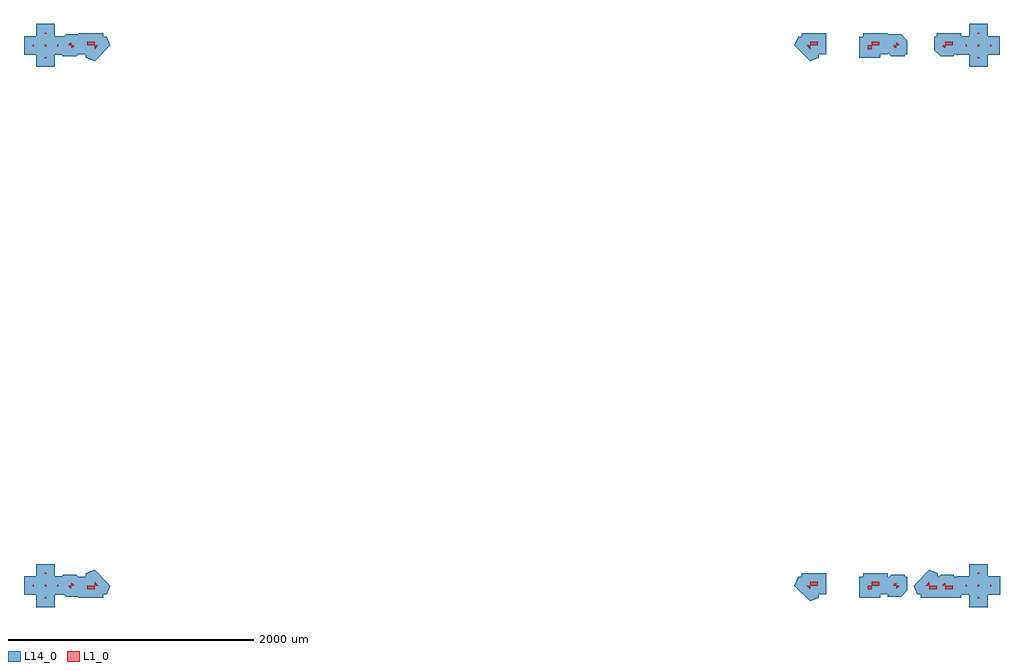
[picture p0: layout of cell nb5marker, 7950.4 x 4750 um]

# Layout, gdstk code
import gdstk
lib = gdstk.Library(unit=1e-6, precision=1e-09)
def R(c, l, rs):  # rectangles x0, y0, x1, y1
    for r in rs: c.add(gdstk.rectangle(r[:2], r[2:], *l))
def A(c, l, x, y, w, h, nx, ny, dx, dy):  # array of equal rectangles
    R(c, l, [(x+i*dx, y+j*dy, x+i*dx+w, y+j*dy+h) for i in range(nx) for j in range(ny)])
def P(c, l, *ps):  # polygons
    for p in ps: c.add(gdstk.Polygon(p, *l))
L1_0 = (1, 0)
L14_0 = (14, 0)

nb5marker = lib.new_cell('nb5marker')
A(nb5marker, L1_0, -3904, -2205, 10, 10, 3, 1, 100, 0)
A(nb5marker, L1_0, 3695.4, -2205, 10, 10, 3, 1, 100, 0)
A(nb5marker, L1_0, -3905, 2195, 10, 10, 3, 1, 100, 0)
A(nb5marker, L1_0, 3695, 2195, 10, 10, 3, 1, 100, 0)
R(nb5marker, L1_0, [(-3804,-2305,-3794,-2295), (3795.4,-2305,3805.4,-2295), (-3460,-2230,-3400,-2200), (2900,-2230,2930,-2200), (3400,-2230,3460,-2200), (3530,-2230,3590,-2200), (2430,-2200,2490,-2170), (2930,-2200,2990,-2170), (-3804,-2105,-3794,-2095), (3795.4,-2105,3805.4,-2095), (-3805,2095,-3795,2105), (3795,2095,3805,2105), (2900,2170,2930,2200), (-3460,2200,-3400,2230), (2430,2200,2490,2230), (2930,2200,2990,2230), (3530,2200,3590,2230), (-3805,2295,-3795,2305), (3795,2295,3805,2305)])
P(nb5marker, L1_0, [(3370,-2200),(3400,-2170),(3400,-2200)],
  [(2430,-2230),(2400,-2200),(2430,-2200)],
  [(3120,2180),(3110,2190),(3110,2200),(3130,2200),(3130,2180)],
  [(3130,2200),(3130,2220),(3140,2220),(3150,2210),(3150,2200)],
  [(3130,-2220),(3130,-2200),(3150,-2200),(3150,-2210),(3140,-2220)],
  [(3110,-2200),(3110,-2190),(3120,-2180),(3130,-2180),(3130,-2200)],
  [(2430,2170),(2400,2200),(2430,2200)],
  [(3510,-2200),(3510,-2190),(3520,-2180),(3530,-2180),(3530,-2200)],
  [(3520,2180),(3510,2190),(3510,2200),(3530,2200),(3530,2180)],
  [(-3610,2200),(-3610,2210),(-3600,2220),(-3590,2220),(-3590,2200)],
  [(-3590,2180),(-3590,2200),(-3570,2200),(-3570,2190),(-3580,2180)],
  [(-3590,-2200),(-3590,-2180),(-3580,-2180),(-3570,-2190),(-3570,-2200)],
  [(-3600,-2220),(-3610,-2210),(-3610,-2200),(-3590,-2200),(-3590,-2220)],
  [(-3400,-2200),(-3400,-2170),(-3370,-2200)],
  [(-3400,2170),(-3400,2200),(-3370,2200)])
A(nb5marker, L14_0, -3974, -2275, 150, 150, 3, 1, 100, 0)
A(nb5marker, L14_0, 3625.4, -2275, 150, 150, 3, 1, 100, 0)
A(nb5marker, L14_0, -3975, 2125, 150, 150, 3, 1, 100, 0)
A(nb5marker, L14_0, 3625, 2125, 150, 150, 3, 1, 100, 0)
R(nb5marker, L14_0, [(-3874,-2375,-3724,-2225), (3725.4,-2375,3875.4,-2225), (-3874,-2175,-3724,-2025), (3725.4,-2175,3875.4,-2025), (-3875,2025,-3725,2175), (3725,2025,3875,2175), (-3875,2225,-3725,2375), (3725,2225,3875,2375)])
P(nb5marker, L14_0, [(-3628.994,-2290),(-3680,-2238.994),(-3680,-2130),(-3660,-2130),(-3660,-2110),(-3551.006,-2110),(-3500,-2161.006),(-3500,-2270),(-3520,-2270),(-3520,-2290)],
  [(3060,-2290),(3060,-2270),(3040,-2270),(3040,-2161.006),(3091.006,-2110),(3200,-2110),(3200,-2130),(3220,-2130),(3220,-2238.994),(3168.994,-2290)],
  [(3460,-2300),(3460,-2270),(3440,-2270),(3440,-2161.006),(3491.006,-2110),(3600,-2110),(3600,-2130),(3660,-2130),(3660,-2300)],
  [(-3530,-2300),(-3530,-2130),(-3470,-2130),(-3470,-2100),(-3400,-2071.006),(-3271.006,-2200),(-3300,-2270),(-3330,-2270),(-3330,-2300)],
  [(2430,-2328.994),(2301.006,-2200),(2330,-2130),(2360,-2130),(2360,-2100),(2560,-2100),(2560,-2270),(2500,-2270),(2500,-2300)],
  [(2830,-2300),(2830,-2130),(2860,-2130),(2860,-2100),(3060,-2100),(3060,-2270),(3000,-2270),(3000,-2300)],
  [(3330,-2300),(3330,-2270),(3300,-2270),(3271.006,-2200),(3400,-2071.006),(3470,-2100),(3470,-2130),(3530,-2130),(3530,-2300)],
  [(-3660,2110),(-3660,2130),(-3680,2130),(-3680,2238.994),(-3628.994,2290),(-3520,2290),(-3520,2270),(-3500,2270),(-3500,2161.006),(-3551.006,2110)],
  [(3091.006,2110),(3040,2161.006),(3040,2270),(3060,2270),(3060,2290),(3168.994,2290),(3220,2238.994),(3220,2130),(3200,2130),(3200,2110)],
  [(-3400,2071.006),(-3470,2100),(-3470,2130),(-3530,2130),(-3530,2300),(-3330,2300),(-3330,2270),(-3300,2270),(-3271.006,2200)],
  [(2430,2071.006),(2301.006,2200),(2330,2270),(2360,2270),(2360,2300),(2560,2300),(2560,2130),(2500,2130),(2500,2100)],
  [(2830,2100),(2830,2270),(2860,2270),(2860,2300),(3060,2300),(3060,2130),(3000,2130),(3000,2100)],
  [(3491.006,2110),(3440,2161.006),(3440,2270),(3460,2270),(3460,2300),(3660,2300),(3660,2130),(3600,2130),(3600,2110)])

lib.write_gds('nb5marker.gds')
